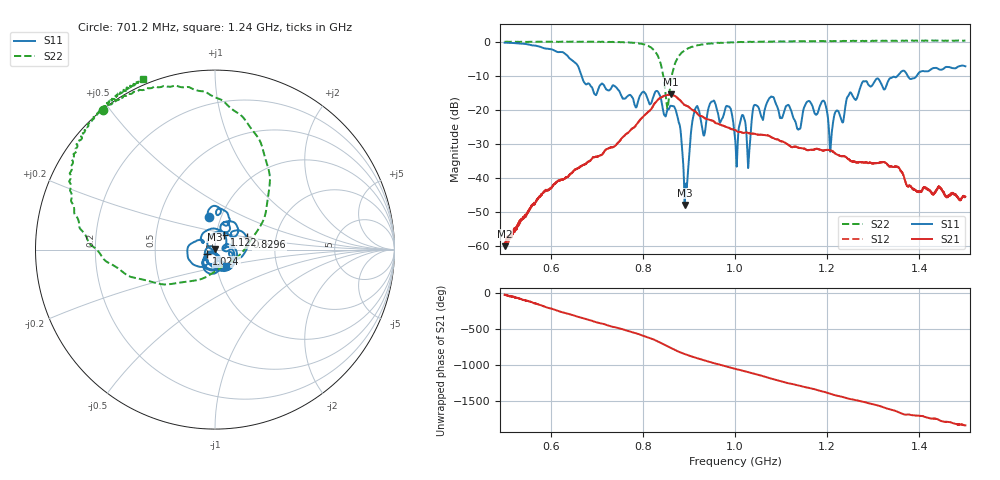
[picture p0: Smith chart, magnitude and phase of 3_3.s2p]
!Keysight Technologies,N5242B,MY48420860,A.13.80.08
!Date: Saturday, September 26, 2020 12:41:59
!Correction: S11(Full 2 Port(1,2))
!S21(Full 2 Port(1,2))
!S12(Full 2 Port(1,2))
!S22(Full 2 Port(1,2))
!S2P File: Measurements: S11, S21, S12, S22:
# Hz S  dB  R 50
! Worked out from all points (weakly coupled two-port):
!   2650 points, 500 MHz to 1.5 GHz, reference 50 ohm
!   highest |S21| = -15.41 dB at 860.1 MHz (marker M1); lowest = -60.2 dB at 500.4 MHz (marker M2)
!   lowest |S11| = -48.0 dB at 890.7 MHz (marker M3), VSWR 1.01, Z = 49.7 + j0.299 ohm
!   |S11| at or under -10 dB: 667 MHz to 1.353 GHz (685.9 MHz wide, 67.9 % of centre); 1.375 GHz to 1.394 GHz (19.64 MHz wide, 1.42 % of centre)
!   |S22| runs from -19.8 to 0.4 dB; largest |S21 - S12| = 0.00073
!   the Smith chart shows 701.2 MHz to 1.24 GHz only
!   S11 on the Smith chart (normalised r, x): 701.2 MHz: 0.88, +0.33; 829.6 MHz: 1.41, +0.20; 1.024 GHz: 0.91, -0.04; 1.122 GHz: 1.10, +0.18; 1.24 GHz: 1.12, -0.21
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5e8  -0.23 -166.2  -59.66 -18.4  -59.05 -14.0  0.03 147.7
5.003775e8  -0.23 -166.3  -60.15 -19.6  -59.50 -18.3  0.03 147.7
6.049453e8  -2.35 127.2  -42.21 141.5  -42.30 141.9  0.06 139.3
6.668554e8  -9.96 66.8  -36.53 20.8  -36.56 20.8  0.03 132.9
7.01208e8  -14.73 100.6  -33.74 -44.5  -33.80 -44.7  0.00 128.7
8.295583e8  -14.44 21.2  -17.55 61.5  -17.57 61.4  -3.40 69.9
8.337108e8  -14.86 3.9  -16.91 48.4  -16.93 48.3  -4.49 62.6
8.518309e8  -20.63 -9.6  -15.68 -9.0  -15.70 -9.1  -18.43 -26.8
8.601359e8  -18.82 -33.0  -15.41 -35.9  -15.43 -36.0  -12.45 -131.5
8.782559e8  -23.82 -144.7  -16.88 -92.4  -16.90 -92.5  -4.12 -175.1
8.907135e8  -48.04 130.8  -18.57 -122.5  -18.59 -122.6  -2.42 171.5
9.16006e8  -19.16 56.7  -20.75 -179.2  -20.78 -179.3  -1.13 156.1
9.862212e8  -19.03 -106.2  -25.26 54.5  -25.27 54.6  -0.19 138.3
1.000189e9  -28.39 -153.0  -25.94 30.7  -25.95 30.7  -0.12 136.2
1.023971e9  -25.72 -151.8  -26.68 -6.6  -26.69 -6.7  -0.03 132.5
1.044356e9  -18.60 -107.2  -27.10 -42.7  -27.15 -42.8  0.00 130.4
1.121744e9  -20.17 57.4  -30.93 -178.2  -30.98 -178.2  0.14 122.8
1.166667e9  -18.44 -77.6  -31.82 115.9  -31.81 115.8  0.16 118.5
1.207814e9  -30.43 -79.6  -32.00 42.1  -32.02 42.3  0.22 115.6
1.239524e9  -18.96 -55.4  -33.87 -12.2  -33.83 -12.8  0.26 112.8
1.333522e9  -11.27 -120.2  -36.48 -168.8  -36.53 -168.6  0.35 105.3
1.5e9  -7.19 161.6  -45.58 -36.7  -45.52 -36.8  0.39 91.7
